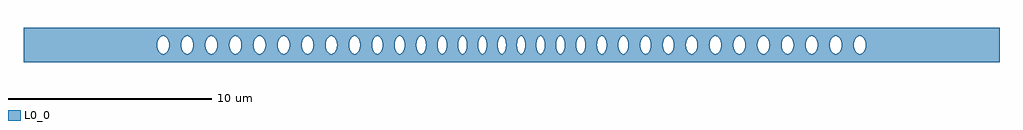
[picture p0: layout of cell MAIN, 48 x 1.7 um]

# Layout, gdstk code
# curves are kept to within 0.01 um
import gdstk
lib = gdstk.Library(unit=1e-6, precision=1e-09)
def P(c, l, *ps):  # polygons
    for p in ps: c.add(gdstk.Polygon(p, *l))
L0_0 = (0, 0)

main = lib.new_cell('MAIN')
P(main, L0_0, [(-17.208,-0.433),(-17.311,-0.357),(-17.367,-0.272),(-17.367,-0.85),(-17.208,-0.85)],
  [(-17.2,0.436),(-17.11,0.448),(-17.021,0.418),(-16.937,0.342),(-16.873,0.228),(-16.873,0.85),(-17.208,0.85)],
  [(-16.873,-0.228),(-16.937,-0.342),(-17.021,-0.418),(-17.11,-0.448),(-17.208,-0.433),(-17.208,-0.85),(-16.873,-0.85)],
  [(24,0.85),(17.367,0.85),(17.367,0.272),(17.413,0.141),(17.428,0.012),(17.413,-0.141),(17.367,-0.272),(17.367,-0.85),(24,-0.85)],
  [(-16.156,0.317),(-16.079,0.401),(-15.985,0.445),(-15.886,0.44),(-15.801,0.392),(-15.801,0.85),(-16.159,0.85)],
  [(-15.801,-0.392),(-15.886,-0.44),(-15.985,-0.445),(-16.083,-0.398),(-16.159,-0.313),(-16.159,-0.85),(-15.801,-0.85)],
  [(-16.243,0.006),(-16.22,0.174),(-16.159,0.313),(-16.159,0.85),(-16.873,0.85),(-16.873,0.228),(-16.843,0.124),(-16.832,0)],
  [(-15.049,0.112),(-15.007,0.253),(-14.945,0.353),(-14.862,0.422),(-14.769,0.448),(-14.769,0.85),(-15.05,0.85)],
  [(-14.769,-0.448),(-14.862,-0.422),(-14.945,-0.353),(-15.007,-0.253),(-15.05,-0.106),(-15.05,-0.85),(-14.769,-0.85)],
  [(-14.761,0.449),(-14.675,0.43),(-14.586,0.364),(-14.521,0.268),(-14.474,0.124),(-14.474,0.85),(-14.769,0.85)],
  [(-14.474,-0.124),(-14.521,-0.268),(-14.586,-0.364),(-14.675,-0.43),(-14.769,-0.448),(-14.769,-0.85),(-14.474,-0.85)],
  [(-15.058,0.006),(-15.05,0.85),(-15.801,0.85),(-15.801,0.392),(-15.74,0.326),(-15.687,0.223),(-15.66,0.13),(-15.647,0)],
  [(-13.727,0.386),(-13.635,0.44),(-13.536,0.445),(-13.453,0.409),(-13.371,0.326),(-13.371,0.85),(-13.734,0.85)],
  [(-13.371,-0.326),(-13.453,-0.409),(-13.548,-0.447),(-13.647,-0.436),(-13.734,-0.38),(-13.734,-0.85),(-13.371,-0.85)],
  [(-13.874,0.006),(-13.835,0.223),(-13.798,0.3),(-13.734,0.38),(-13.734,0.85),(-14.474,0.85),(-14.463,0)],
  [(-12.654,0.212),(-12.594,0.33),(-12.515,0.409),(-12.419,0.447),(-12.325,0.437),(-12.325,0.85),(-12.656,0.85)],
  [(-12.325,-0.437),(-12.419,-0.447),(-12.515,-0.409),(-12.594,-0.33),(-12.656,-0.207),(-12.656,-0.85),(-12.325,-0.85)],
  [(-12.094,0.85),(-12.325,0.85),(-12.325,0.437),(-12.233,0.38),(-12.152,0.268),(-12.107,0.135),(-12.094,0.018)],
  [(-12.094,-0.018),(-12.107,-0.135),(-12.152,-0.268),(-12.233,-0.38),(-12.325,-0.437),(-12.325,-0.85),(-12.094,-0.85)],
  [(-12.689,0.006),(-12.656,0.207),(-12.656,0.85),(-13.371,0.85),(-13.371,0.326),(-13.306,0.191),(-13.278,0)],
  [(-11.289,0.431),(-11.187,0.448),(-11.095,0.416),(-11.015,0.342),(-10.958,0.243),(-10.958,0.85),(-11.296,0.85)],
  [(-10.958,-0.243),(-11.015,-0.342),(-11.095,-0.416),(-11.203,-0.449),(-11.296,-0.428),(-11.296,-0.85),(-10.958,-0.85)],
  [(-11.503,0.006),(-11.487,0.147),(-11.447,0.263),(-11.387,0.357),(-11.296,0.428),(-11.296,0.85),(-12.094,0.85),(-12.094,0)],
  [(-10.241,0.304),(-10.165,0.395),(-10.085,0.44),(-9.988,0.445),(-9.896,0.401),(-9.896,0.85),(-10.243,0.85)],
  [(-9.896,-0.401),(-9.988,-0.445),(-10.085,-0.44),(-10.165,-0.395),(-10.243,-0.3),(-10.243,-0.85),(-9.896,-0.85)],
  [(-10.318,0.006),(-10.301,0.152),(-10.243,0.3),(-10.243,0.85),(-10.958,0.85),(-10.958,0.243),(-10.923,0.13),(-10.911,0)],
  [(-9.137,0.095),(-9.103,0.233),(-9.053,0.33),(-8.978,0.409),(-8.88,0.448),(-8.88,0.85),(-9.138,0.85)],
  [(-8.88,-0.448),(-8.978,-0.409),(-9.053,-0.33),(-9.103,-0.233),(-9.138,-0.089),(-9.138,-0.85),(-8.88,-0.85)],
  [(-8.872,0.448),(-8.779,0.43),(-8.704,0.374),(-8.631,0.263),(-8.592,0.141),(-8.592,0.85),(-8.88,0.85)],
  [(-8.592,-0.141),(-8.631,-0.263),(-8.704,-0.374),(-8.786,-0.433),(-8.88,-0.448),(-8.88,-0.85),(-8.592,-0.85)],
  [(-9.144,0.006),(-9.138,0.85),(-9.896,0.85),(-9.896,0.401),(-9.827,0.326),(-9.775,0.223),(-9.736,0)],
  [(-7.862,0.377),(-7.779,0.436),(-7.696,0.448),(-7.612,0.416),(-7.535,0.338),(-7.535,0.85),(-7.868,0.85)],
  [(-7.535,-0.338),(-7.612,-0.416),(-7.696,-0.448),(-7.793,-0.43),(-7.868,-0.37),(-7.868,-0.85),(-7.535,-0.85)],
  [(-7.988,0.006),(-7.952,0.223),(-7.868,0.37),(-7.868,0.85),(-8.592,0.85),(-8.592,0.141),(-8.578,0)],
  [(-6.829,0.196),(-6.774,0.326),(-6.702,0.409),(-6.628,0.445),(-6.545,0.441),(-6.545,0.85),(-6.831,0.85)],
  [(-6.545,-0.441),(-6.628,-0.445),(-6.702,-0.409),(-6.774,-0.326),(-6.831,-0.191),(-6.831,-0.85),(-6.545,-0.85)],
  [(-6.333,0.85),(-6.545,0.85),(-6.545,0.441),(-6.476,0.401),(-6.394,0.291),(-6.352,0.174),(-6.333,0.036)],
  [(-6.333,-0.036),(-6.352,-0.174),(-6.394,-0.291),(-6.476,-0.401),(-6.545,-0.441),(-6.545,-0.85),(-6.333,-0.85)],
  [(-6.855,0.006),(-6.831,0.191),(-6.831,0.85),(-7.535,0.85),(-7.535,0.338),(-7.467,0.191),(-7.441,0)],
  [(-5.58,0.426),(-5.505,0.449),(-5.429,0.43),(-5.355,0.364),(-5.297,0.258),(-5.297,0.85),(-5.586,0.85)],
  [(-5.297,-0.258),(-5.355,-0.364),(-5.429,-0.43),(-5.505,-0.449),(-5.586,-0.422),(-5.586,-0.85),(-5.297,-0.85)],
  [(-5.751,0.006),(-5.744,0.112),(-5.712,0.243),(-5.664,0.342),(-5.586,0.422),(-5.586,0.85),(-6.333,0.85),(-6.332,0)],
  [(-4.621,0.291),(-4.561,0.386),(-4.487,0.44),(-4.408,0.445),(-4.341,0.409),(-4.341,0.85),(-4.623,0.85)],
  [(-4.341,-0.409),(-4.408,-0.445),(-4.487,-0.44),(-4.569,-0.377),(-4.623,-0.286),(-4.623,-0.85),(-4.341,-0.85)],
  [(-4.678,0.006),(-4.663,0.158),(-4.623,0.286),(-4.623,0.85),(-5.297,0.85),(-5.297,0.258),(-5.262,0.13),(-5.252,0)],
  [(-3.632,0.077),(-3.609,0.212),(-3.565,0.326),(-3.511,0.401),(-3.433,0.446),(-3.433,0.85),(-3.633,0.85)],
  [(-3.433,-0.446),(-3.5,-0.411),(-3.565,-0.326),(-3.609,-0.212),(-3.633,-0.071),(-3.633,-0.85),(-3.433,-0.85)],
  [(-3.427,0.447),(-3.343,0.43),(-3.283,0.374),(-3.226,0.268),(-3.196,0.158),(-3.196,0.85),(-3.433,0.85)],
  [(-3.196,-0.158),(-3.226,-0.268),(-3.283,-0.374),(-3.355,-0.436),(-3.433,-0.446),(-3.433,-0.85),(-3.196,-0.85)],
  [(-3.635,0.006),(-3.633,0.85),(-4.341,0.85),(-4.341,0.409),(-4.285,0.342),(-4.241,0.248),(-4.209,0.112),(-4.202,0)],
  [(-2.531,0.367),(-2.469,0.43),(-2.403,0.449),(-2.324,0.416),(-2.27,0.349),(-2.27,0.85),(-2.535,0.85)],
  [(-2.27,-0.349),(-2.324,-0.416),(-2.403,-0.449),(-2.469,-0.43),(-2.535,-0.36),(-2.535,-0.85),(-2.27,-0.85)],
  [(-2.623,0.006),(-2.599,0.207),(-2.535,0.36),(-2.535,0.85),(-3.196,0.85),(-3.196,0.158),(-3.182,0)],
  [(-1.62,0.18),(-1.581,0.309),(-1.523,0.401),(-1.457,0.445),(-1.398,0.444),(-1.398,0.85),(-1.622,0.85)],
  [(-1.398,-0.444),(-1.468,-0.441),(-1.533,-0.389),(-1.581,-0.309),(-1.622,-0.174),(-1.622,-0.85),(-1.398,-0.85)],
  [(-1.221,0.85),(-1.398,0.85),(-1.398,0.444),(-1.332,0.398),(-1.277,0.309),(-1.238,0.185),(-1.221,0.054)],
  [(-1.221,-0.054),(-1.238,-0.185),(-1.277,-0.309),(-1.332,-0.398),(-1.398,-0.444),(-1.398,-0.85),(-1.221,-0.85)],
  [(-1.638,0.006),(-1.622,0.174),(-1.622,0.85),(-2.27,0.85),(-2.27,0.349),(-2.213,0.207),(-2.189,0)],
  [(-0.544,0.42),(-0.475,0.449),(-0.413,0.43),(-0.352,0.364),(-0.31,0.272),(-0.31,0.85),(-0.549,0.85)],
  [(-0.31,-0.272),(-0.352,-0.364),(-0.413,-0.43),(-0.485,-0.448),(-0.549,-0.416),(-0.549,-0.85),(-0.31,-0.85)],
  [(-0.676,0.006),(-0.665,0.147),(-0.636,0.268),(-0.596,0.357),(-0.549,0.416),(-0.549,0.85),(-1.221,0.85),(-1.22,0)],
  [(0.31,0.272),(0.352,0.364),(0.413,0.43),(0.485,0.448),(0.549,0.416),(0.549,0.85),(0.308,0.85)],
  [(0.549,-0.416),(0.485,-0.448),(0.413,-0.43),(0.352,-0.364),(0.308,-0.268),(0.308,-0.85),(0.549,-0.85)],
  [(0.268,0.006),(0.277,0.135),(0.308,0.268),(0.308,0.85),(-0.31,0.85),(-0.31,0.272),(-0.277,0.135),(-0.268,0)],
  [(1.221,0.054),(1.238,0.185),(1.277,0.309),(1.332,0.398),(1.398,0.444),(1.398,0.85),(1.221,0.85)],
  [(1.398,-0.444),(1.332,-0.398),(1.277,-0.309),(1.238,-0.185),(1.221,-0.048),(1.221,-0.85),(1.398,-0.85)],
  [(1.404,0.445),(1.468,0.441),(1.533,0.389),(1.581,0.309),(1.62,0.18),(1.62,0.85),(1.398,0.85)],
  [(1.62,-0.18),(1.581,-0.309),(1.523,-0.401),(1.457,-0.445),(1.398,-0.444),(1.398,-0.85),(1.62,-0.85)],
  [(1.22,0.006),(1.221,0.85),(0.549,0.85),(0.549,0.416),(0.596,0.357),(0.636,0.268),(0.665,0.147),(0.676,0)],
  [(2.272,0.353),(2.332,0.422),(2.403,0.449),(2.469,0.43),(2.533,0.364),(2.533,0.85),(2.27,0.85)],
  [(2.533,-0.364),(2.469,-0.43),(2.403,-0.449),(2.324,-0.416),(2.27,-0.349),(2.27,-0.85),(2.533,-0.85)],
  [(2.189,0.006),(2.213,0.207),(2.27,0.349),(2.27,0.85),(1.62,0.85),(1.62,0.18),(1.638,0)],
  [(3.197,0.163),(3.226,0.268),(3.283,0.374),(3.355,0.436),(3.43,0.447),(3.43,0.85),(3.196,0.85)],
  [(3.43,-0.447),(3.355,-0.436),(3.283,-0.374),(3.226,-0.268),(3.196,-0.158),(3.196,-0.85),(3.43,-0.85)],
  [(3.633,0.85),(3.43,0.85),(3.43,0.447),(3.5,0.411),(3.565,0.326),(3.609,0.212),(3.633,0.071)],
  [(3.633,-0.071),(3.609,-0.212),(3.565,-0.326),(3.5,-0.411),(3.43,-0.447),(3.43,-0.85),(3.633,-0.85)],
  [(3.182,0.006),(3.196,0.158),(3.196,0.85),(2.533,0.85),(2.533,0.364),(2.599,0.207),(2.623,0)],
  [(4.344,0.411),(4.424,0.448),(4.496,0.436),(4.569,0.377),(4.623,0.286),(4.623,0.85),(4.339,0.85)],
  [(4.623,-0.286),(4.569,-0.377),(4.487,-0.44),(4.408,-0.445),(4.339,-0.406),(4.339,-0.85),(4.623,-0.85)],
  [(4.202,0.006),(4.241,0.248),(4.285,0.342),(4.339,0.406),(4.339,0.85),(3.633,0.85),(3.635,0)],
  [(5.297,0.258),(5.355,0.364),(5.429,0.43),(5.505,0.449),(5.586,0.422),(5.586,0.85),(5.295,0.85)],
  [(5.586,-0.422),(5.505,-0.449),(5.429,-0.43),(5.355,-0.364),(5.295,-0.253),(5.295,-0.85),(5.586,-0.85)],
  [(5.252,0.006),(5.262,0.13),(5.295,0.253),(5.295,0.85),(4.623,0.85),(4.623,0.286),(4.663,0.158),(4.678,0)],
  [(6.333,0.036),(6.352,0.174),(6.394,0.291),(6.476,0.401),(6.545,0.441),(6.545,0.85),(6.332,0.85)],
  [(6.545,-0.441),(6.476,-0.401),(6.394,-0.291),(6.352,-0.174),(6.332,-0.03),(6.332,-0.85),(6.545,-0.85)],
  [(6.552,0.443),(6.632,0.444),(6.711,0.401),(6.784,0.309),(6.829,0.196),(6.829,0.85),(6.545,0.85)],
  [(6.829,-0.196),(6.774,-0.326),(6.702,-0.409),(6.628,-0.445),(6.545,-0.441),(6.545,-0.85),(6.829,-0.85)],
  [(6.332,0.006),(6.332,0.85),(5.586,0.85),(5.586,0.422),(5.664,0.342),(5.712,0.243),(5.744,0.112),(5.752,0)],
  [(7.537,0.342),(7.612,0.416),(7.696,0.448),(7.793,0.43),(7.865,0.374),(7.865,0.85),(7.535,0.85)],
  [(7.865,-0.374),(7.793,-0.43),(7.696,-0.448),(7.612,-0.416),(7.535,-0.338),(7.535,-0.85),(7.865,-0.85)],
  [(7.442,0.006),(7.467,0.191),(7.535,0.338),(7.535,0.85),(6.829,0.85),(6.829,0.196),(6.856,0)],
  [(8.593,0.147),(8.631,0.263),(8.704,0.374),(8.779,0.43),(8.876,0.448),(8.876,0.85),(8.592,0.85)],
  [(8.876,-0.448),(8.779,-0.43),(8.704,-0.374),(8.631,-0.263),(8.592,-0.141),(8.592,-0.85),(8.876,-0.85)],
  [(9.138,0.85),(8.876,0.85),(8.876,0.448),(8.978,0.409),(9.053,0.33),(9.103,0.233),(9.138,0.089)],
  [(9.138,-0.089),(9.103,-0.233),(9.053,-0.33),(8.978,-0.409),(8.876,-0.448),(8.876,-0.85),(9.138,-0.85)],
  [(8.578,0.006),(8.592,0.141),(8.592,0.85),(7.865,0.85),(7.865,0.374),(7.952,0.223),(7.988,0)],
  [(9.9,0.403),(9.988,0.445),(10.085,0.44),(10.165,0.395),(10.243,0.3),(10.243,0.85),(9.893,0.85)],
  [(10.243,-0.3),(10.165,-0.395),(10.085,-0.44),(9.988,-0.445),(9.893,-0.398),(9.893,-0.85),(10.243,-0.85)],
  [(9.736,0.006),(9.752,0.147),(9.791,0.263),(9.893,0.398),(9.893,0.85),(9.138,0.85),(9.144,0)],
  [(10.958,0.243),(11.015,0.342),(11.095,0.416),(11.203,0.449),(11.296,0.428),(11.296,0.85),(10.956,0.85)],
  [(11.296,-0.428),(11.203,-0.449),(11.095,-0.416),(11.015,-0.342),(10.956,-0.238),(10.956,-0.85),(11.296,-0.85)],
  [(10.911,0.006),(10.923,0.13),(10.956,0.238),(10.956,0.85),(10.243,0.85),(10.243,0.3),(10.301,0.152),(10.318,0)],
  [(12.094,0.018),(12.107,0.135),(12.152,0.268),(12.233,0.38),(12.325,0.437),(12.325,0.85),(12.094,0.85)],
  [(12.325,-0.437),(12.233,-0.38),(12.152,-0.268),(12.107,-0.135),(12.094,-0.012),(12.094,-0.85),(12.325,-0.85)],
  [(12.332,0.44),(12.431,0.445),(12.515,0.409),(12.594,0.33),(12.654,0.212),(12.654,0.85),(12.325,0.85)],
  [(12.654,-0.212),(12.594,-0.33),(12.515,-0.409),(12.419,-0.447),(12.325,-0.437),(12.325,-0.85),(12.654,-0.85)],
  [(12.094,0.006),(12.094,0.85),(11.296,0.85),(11.296,0.428),(11.387,0.357),(11.447,0.263),(11.487,0.147),(11.503,0)],
  [(13.374,0.33),(13.453,0.409),(13.548,0.447),(13.647,0.436),(13.731,0.383),(13.731,0.85),(13.371,0.85)],
  [(13.731,-0.383),(13.647,-0.436),(13.548,-0.447),(13.453,-0.409),(13.371,-0.326),(13.371,-0.85),(13.731,-0.85)],
  [(13.278,0.006),(13.306,0.191),(13.371,0.326),(13.371,0.85),(12.654,0.85),(12.654,0.212),(12.689,0)],
  [(14.475,0.13),(14.521,0.268),(14.586,0.364),(14.675,0.43),(14.765,0.449),(14.765,0.85),(14.474,0.85)],
  [(14.765,-0.449),(14.675,-0.43),(14.586,-0.364),(14.521,-0.268),(14.474,-0.124),(14.474,-0.85),(14.765,-0.85)],
  [(15.05,0.85),(14.765,0.85),(14.765,0.449),(14.847,0.43),(14.945,0.353),(15.007,0.253),(15.05,0.106)],
  [(15.05,-0.106),(15.007,-0.253),(14.945,-0.353),(14.862,-0.422),(14.765,-0.449),(14.765,-0.85),(15.05,-0.85)],
  [(14.463,0.006),(14.474,0.85),(13.731,0.85),(13.731,0.383),(13.787,0.317),(13.835,0.223),(13.874,0)],
  [(15.804,0.395),(15.886,0.44),(15.985,0.445),(16.083,0.398),(16.159,0.313),(16.159,0.85),(15.797,0.85)],
  [(16.159,-0.313),(16.083,-0.398),(15.985,-0.445),(15.886,-0.44),(15.797,-0.389),(15.797,-0.85),(16.159,-0.85)],
  [(15.647,0.006),(15.687,0.223),(15.74,0.326),(15.797,0.389),(15.797,0.85),(15.05,0.85),(15.058,0)],
  [(16.873,0.228),(16.937,0.342),(17.021,0.418),(17.11,0.448),(17.208,0.433),(17.208,0.85),(16.871,0.85)],
  [(17.208,-0.433),(17.11,-0.448),(17.021,-0.418),(16.937,-0.342),(16.871,-0.223),(16.871,-0.85),(17.208,-0.85)],
  [(-17.367,-0.272),(-17.413,-0.141),(-17.428,-0.012),(-17.413,0.141),(-17.367,0.272),(-17.367,0.85),(-24,0.85),(-24,-0.85),(-17.367,-0.85)],
  [(-17.364,0.277),(-17.311,0.357),(-17.208,0.433),(-17.208,0.85),(-17.367,0.85)],
  [(17.367,0.85),(17.208,0.85),(17.208,0.433),(17.311,0.357),(17.367,0.272)],
  [(17.367,-0.272),(17.311,-0.357),(17.208,-0.433),(17.208,-0.85),(17.367,-0.85)],
  [(-16.159,-0.313),(-16.223,-0.163),(-16.243,0),(-16.832,0),(-16.843,-0.124),(-16.873,-0.228),(-16.873,-0.85),(-16.159,-0.85)],
  [(-15.05,-0.106),(-15.058,0),(-15.647,0),(-15.66,-0.13),(-15.687,-0.223),(-15.74,-0.326),(-15.801,-0.392),(-15.801,-0.85),(-15.05,-0.85)],
  [(-13.734,-0.38),(-13.798,-0.3),(-13.835,-0.223),(-13.874,0),(-14.463,0),(-14.474,-0.85),(-13.734,-0.85)],
  [(-12.656,-0.207),(-12.689,0),(-13.278,0),(-13.306,-0.191),(-13.371,-0.326),(-13.371,-0.85),(-12.656,-0.85)],
  [(-11.296,-0.428),(-11.387,-0.357),(-11.447,-0.263),(-11.487,-0.147),(-11.503,0),(-12.094,0),(-12.094,-0.85),(-11.296,-0.85)],
  [(-10.243,-0.3),(-10.301,-0.152),(-10.318,0),(-10.911,0),(-10.923,-0.13),(-10.958,-0.243),(-10.958,-0.85),(-10.243,-0.85)],
  [(-9.138,-0.089),(-9.144,0),(-9.736,0),(-9.775,-0.223),(-9.827,-0.326),(-9.896,-0.401),(-9.896,-0.85),(-9.138,-0.85)],
  [(-7.868,-0.37),(-7.952,-0.223),(-7.988,0),(-8.578,0),(-8.592,-0.141),(-8.592,-0.85),(-7.868,-0.85)],
  [(-6.831,-0.191),(-6.856,0),(-7.441,0),(-7.467,-0.191),(-7.535,-0.338),(-7.535,-0.85),(-6.831,-0.85)],
  [(-5.586,-0.422),(-5.664,-0.342),(-5.712,-0.243),(-5.744,-0.112),(-5.752,0),(-6.332,0),(-6.333,-0.85),(-5.586,-0.85)],
  [(-4.623,-0.286),(-4.663,-0.158),(-4.678,0),(-5.252,0),(-5.262,-0.13),(-5.297,-0.258),(-5.297,-0.85),(-4.623,-0.85)],
  [(-3.633,-0.071),(-3.635,0),(-4.202,0),(-4.209,-0.112),(-4.241,-0.248),(-4.285,-0.342),(-4.341,-0.409),(-4.341,-0.85),(-3.633,-0.85)],
  [(-2.535,-0.36),(-2.599,-0.207),(-2.623,0),(-3.182,0),(-3.196,-0.158),(-3.196,-0.85),(-2.535,-0.85)],
  [(-1.622,-0.174),(-1.638,0),(-2.189,0),(-2.213,-0.207),(-2.27,-0.349),(-2.27,-0.85),(-1.622,-0.85)],
  [(-0.549,-0.416),(-0.596,-0.357),(-0.636,-0.268),(-0.665,-0.147),(-0.676,0),(-1.22,0),(-1.221,-0.85),(-0.549,-0.85)],
  [(0.308,-0.268),(0.277,-0.135),(0.268,0),(-0.268,0),(-0.277,-0.135),(-0.31,-0.272),(-0.31,-0.85),(0.308,-0.85)],
  [(1.221,-0.048),(1.22,0),(0.676,0),(0.665,-0.147),(0.636,-0.268),(0.596,-0.357),(0.549,-0.416),(0.549,-0.85),(1.221,-0.85)],
  [(2.27,-0.349),(2.213,-0.207),(2.189,0),(1.638,0),(1.62,-0.18),(1.62,-0.85),(2.27,-0.85)],
  [(3.196,-0.158),(3.182,0),(2.623,0),(2.599,-0.207),(2.533,-0.364),(2.533,-0.85),(3.196,-0.85)],
  [(4.339,-0.406),(4.285,-0.342),(4.241,-0.248),(4.209,-0.112),(4.202,0),(3.635,0),(3.633,-0.85),(4.339,-0.85)],
  [(5.295,-0.253),(5.262,-0.13),(5.252,0),(4.678,0),(4.663,-0.158),(4.623,-0.286),(4.623,-0.85),(5.295,-0.85)],
  [(6.332,-0.03),(6.332,0),(5.752,0),(5.744,-0.112),(5.712,-0.243),(5.664,-0.342),(5.586,-0.422),(5.586,-0.85),(6.332,-0.85)],
  [(7.535,-0.338),(7.467,-0.191),(7.441,0),(6.856,0),(6.829,-0.196),(6.829,-0.85),(7.535,-0.85)],
  [(8.592,-0.141),(8.578,0),(7.988,0),(7.952,-0.223),(7.865,-0.374),(7.865,-0.85),(8.592,-0.85)],
  [(9.893,-0.398),(9.827,-0.326),(9.775,-0.223),(9.736,0),(9.144,0),(9.138,-0.85),(9.893,-0.85)],
  [(10.956,-0.238),(10.923,-0.13),(10.911,0),(10.318,0),(10.301,-0.152),(10.243,-0.3),(10.243,-0.85),(10.956,-0.85)],
  [(12.094,-0.012),(12.094,0),(11.503,0),(11.487,-0.147),(11.447,-0.263),(11.387,-0.357),(11.296,-0.428),(11.296,-0.85),(12.094,-0.85)],
  [(13.371,-0.326),(13.306,-0.191),(13.278,0),(12.689,0),(12.654,-0.212),(12.654,-0.85),(13.371,-0.85)],
  [(14.474,-0.124),(14.463,0),(13.874,0),(13.835,-0.223),(13.787,-0.317),(13.731,-0.383),(13.731,-0.85),(14.474,-0.85)],
  [(15.797,-0.389),(15.74,-0.326),(15.687,-0.223),(15.66,-0.13),(15.647,0),(15.058,0),(15.05,-0.85),(15.797,-0.85)],
  [(16.871,-0.223),(16.843,-0.124),(16.832,0),(16.243,0),(16.223,-0.163),(16.159,-0.313),(16.159,-0.85),(16.871,-0.85)],
  [(16.832,0.006),(16.843,0.124),(16.871,0.223),(16.871,0.85),(16.159,0.85),(16.159,0.313),(16.223,0.163),(16.243,0)])

lib.write_gds('MAIN.gds')
